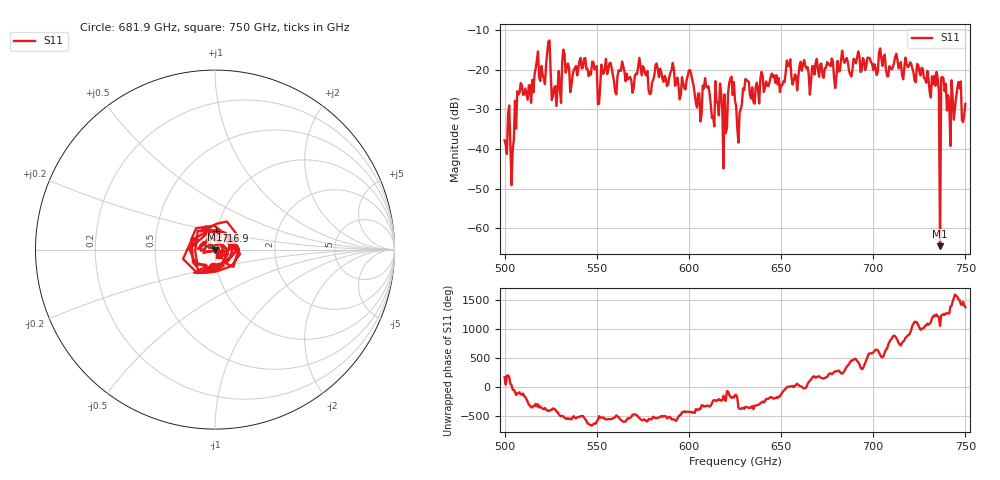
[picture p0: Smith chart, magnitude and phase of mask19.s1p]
!Created with skrf (http://scikit-rf.org).
# GHz S MA R 50.0
!freq magS11 angS11
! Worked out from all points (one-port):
!   401 points, 500 GHz to 750 GHz, reference 50 ohm
!   lowest |S11| = -64.5 dB at 736.2 GHz (marker M1), VSWR 1.00, Z = 50.1 - j0.0214 ohm
!   |S11| at or under -10 dB: start of sweep to end of sweep
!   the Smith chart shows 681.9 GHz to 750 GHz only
!   S11 on the Smith chart (normalised r, x): 681.9 GHz: 0.96, -0.19; 716.9 GHz: 0.99, +0.21; 750 GHz: 1.04, -0.06
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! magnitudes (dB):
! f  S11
! 500 GHz  -37.8
! 504.4 GHz  -40.3
! 508.1 GHz  -25.7
! 517.5 GHz  -17.7
! 523.8 GHz  -12.9
! 526.9 GHz  -24.5
! 531.2 GHz  -18.0
! 562.5 GHz  -20.1
! 593.8 GHz  -22.0
! 600.6 GHz  -20.1
! 605.6 GHz  -26.0
! 609.4 GHz  -24.2
! 619.4 GHz  -26.2
! 622.5 GHz  -22.3
! 625 GHz  -27.8
! 656.2 GHz  -23.7
! 681.9 GHz  -20.3
! 687.5 GHz  -21.2
! 716.9 GHz  -19.5
! 718.8 GHz  -19.3
! 734.4 GHz  -20.5
! 735 GHz  -22.2
! 736.2 GHz  -64.5
! 737.5 GHz  -21.8
! 738.1 GHz  -22.2
! 740.6 GHz  -26.4
! 746.2 GHz  -23.1
! 750 GHz  -28.6
